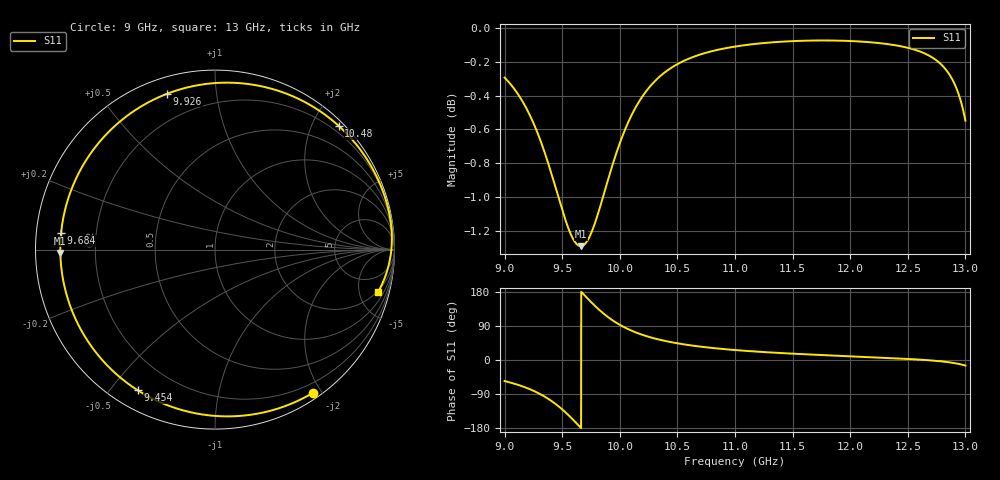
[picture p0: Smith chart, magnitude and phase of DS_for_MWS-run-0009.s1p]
! TOUCHSTONE file generated by CST DESIGN STUDIO
! Date and time: Tue Feb  4 17:52:57 2025
! Project name: C:\Work\MatlabApps\UnitCellOptimizationMatlab\CST\unitcell.cst
! Tree item: Tasks\Sweep1\SPara1\S-Parameters
! Header version: 2024
! Port assignment regex: !\s*Touchstone port\s*([0-9]+)\s*=\s*(CST MWS port|CST DES external port|CST DES block port)\s*(.+)\s* \(\"(.*)\"\)(\s*mode\s*([0-9]+))?.*
! Touchstone port assignment:
! Touchstone port 1 = CST DES external port 1 ("")
# GHz S MA R 50
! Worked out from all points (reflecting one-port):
!   4001 points, 9 GHz to 13 GHz, reference 50 ohm
!   lowest |S11| = -1.3 dB at 9.661 GHz (marker M1), VSWR 13.49, Z = 3.71 - j0.538 ohm
!   phase of S11 starts at -56 deg and turns -319 deg over the sweep
!   S11 on the Smith chart (normalised r, x): 9 GHz: 0.08, -1.89; 9.454 GHz: 0.08, -0.59; 9.684 GHz: 0.07, +0.05; 9.926 GHz: 0.07, +0.74; 10.48 GHz: 0.09, +2.41; 13 GHz: 1.83, -7.32
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9  0.9667 -55.6
9.116  0.9559 -65.5
9.23  0.9406 -78.4
9.354  0.9173 -97.7
9.406  0.9056 -108.0
9.454  0.8942 -118.8
9.5  0.8835 -130.3
9.543  0.8745 -142.2
9.588  0.867 -155.6
9.661  0.8619 -178.8
9.684  0.8625 173.8
9.743  0.8683 155.2
9.81  0.881 135.5
9.867  0.8944 120.5
9.926  0.9085 107.0
10  0.9245 92.8
10.105  0.9428 77.0
10.215  0.9564 64.5
10.339  0.9669 54.0
10.483  0.9749 45.0
10.5  0.9756 44.1
10.719  0.9826 34.6
11  0.9874 26.3
11.5  0.991 16.7
12  0.9911 9.8
12.5  0.9866 2.9
12.803  0.9744 -4.0
13  0.9388 -14.7
